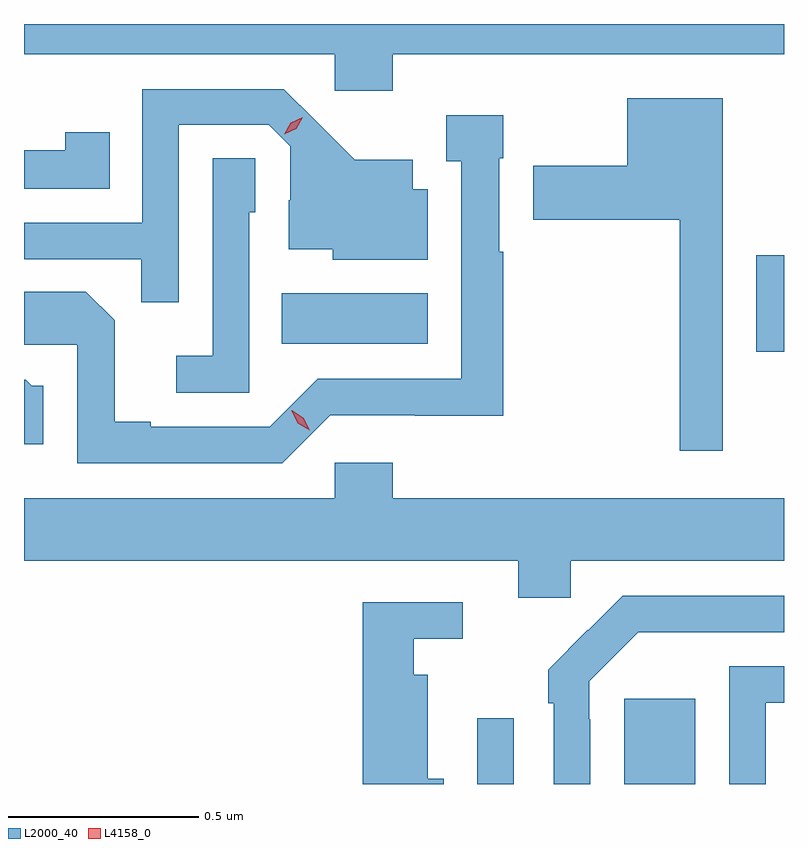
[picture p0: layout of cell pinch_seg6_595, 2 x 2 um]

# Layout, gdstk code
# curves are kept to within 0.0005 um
import gdstk
lib = gdstk.Library(unit=1e-6, precision=1e-09)
def R(c, l, rs):  # rectangles x0, y0, x1, y1
    for r in rs: c.add(gdstk.rectangle(r[:2], r[2:], *l))
def P(c, l, *ps):  # polygons
    for p in ps: c.add(gdstk.Polygon(p, *l))
L2000_40 = (2000, 40)
L4158_0 = (4158, 0)

pinch_seg6_595 = lib.new_cell('pinch_seg6_595')
R(pinch_seg6_595, L2000_40, [(603.861,973.388,603.957,973.561), (604.247,973.388,604.435,973.612), (604.595,974.525,604.668,974.779), (603.346,974.546,603.73,974.68)])
P(pinch_seg6_595, L2000_40, [(603.638,975.308),(604.668,975.308),(604.668,975.388),(602.668,975.388),(602.668,975.308),(603.486,975.308),(603.486,975.213),(603.638,975.213)],
  [(603.075,975.123),(603.312,975.123),(603.369,975.066),(603.369,974.924),(603.365,974.924),(603.365,974.795),(603.48,974.795),(603.48,974.768),(603.73,974.768),(603.73,974.953),(603.691,974.953),(603.691,975.031),(603.539,975.031),(603.352,975.216),(602.979,975.216),(602.979,974.865),(602.668,974.865),(602.668,974.769),(602.977,974.769),(602.977,974.656),(603.075,974.656)],
  [(604.507,975.193),(604.256,975.193),(604.256,975.015),(604.008,975.015),(604.008,974.873),(604.393,974.873),(604.393,974.265),(604.507,974.265)],
  [(603.474,974.358),(603.696,974.358),(603.696,974.357),(603.929,974.357),(603.929,974.789),(603.919,974.789),(603.919,975.035),(603.929,975.035),(603.929,975.148),(603.779,975.148),(603.779,975.027),(603.818,975.027),(603.818,974.454),(603.441,974.454),(603.315,974.328),(603.001,974.328),(603.001,974.341),(602.907,974.341),(602.907,974.608),(602.831,974.684),(602.668,974.684),(602.668,974.544),(602.808,974.544),(602.808,974.232),(603.348,974.232)],
  [(602.894,975.103),(602.776,975.103),(602.776,975.056),(602.668,975.056),(602.668,974.955),(602.894,974.955)],
  [(603.261,974.892),(603.276,974.892),(603.276,975.035),(603.165,975.035),(603.165,974.515),(603.069,974.515),(603.069,974.418),(603.261,974.418)],
  [(602.719,974.436),(602.688,974.436),(602.672,974.452),(602.668,974.452),(602.668,974.282),(602.719,974.282)],
  [(604.107,973.976),(604.668,973.976),(604.668,974.14),(603.638,974.14),(603.638,974.233),(603.486,974.233),(603.486,974.14),(602.668,974.14),(602.668,973.976),(603.968,973.976),(603.968,973.878),(604.107,973.878)],
  [(604.158,973.559),(604.155,973.559),(604.155,973.659),(604.284,973.788),(604.668,973.788),(604.668,973.884),(604.244,973.884),(604.153,973.793),(604.152,973.794),(604.047,973.689),(604.047,973.601),(604.062,973.601),(604.062,973.388),(604.158,973.388)],
  [(603.772,973.402),(603.73,973.402),(603.73,973.675),(603.694,973.675),(603.694,973.77),(603.823,973.77),(603.823,973.866),(603.56,973.866),(603.56,973.388),(603.772,973.388)],
  [(604.62,973.602),(604.668,973.602),(604.668,973.698),(604.524,973.698),(604.524,973.388),(604.62,973.388)])
P(pinch_seg6_595, L4158_0, [(603.42,974.319),(603.389,974.338),(603.372,974.37),(603.372,974.371),(603.372,974.371),(603.403,974.352),(603.42,974.319),(603.42,974.319)],
  [(603.353,975.098),(603.353,975.098),(603.37,975.128),(603.401,975.143),(603.401,975.143),(603.401,975.143),(603.384,975.113),(603.353,975.098)])

lib.write_gds('pinch_seg6_595.gds')
